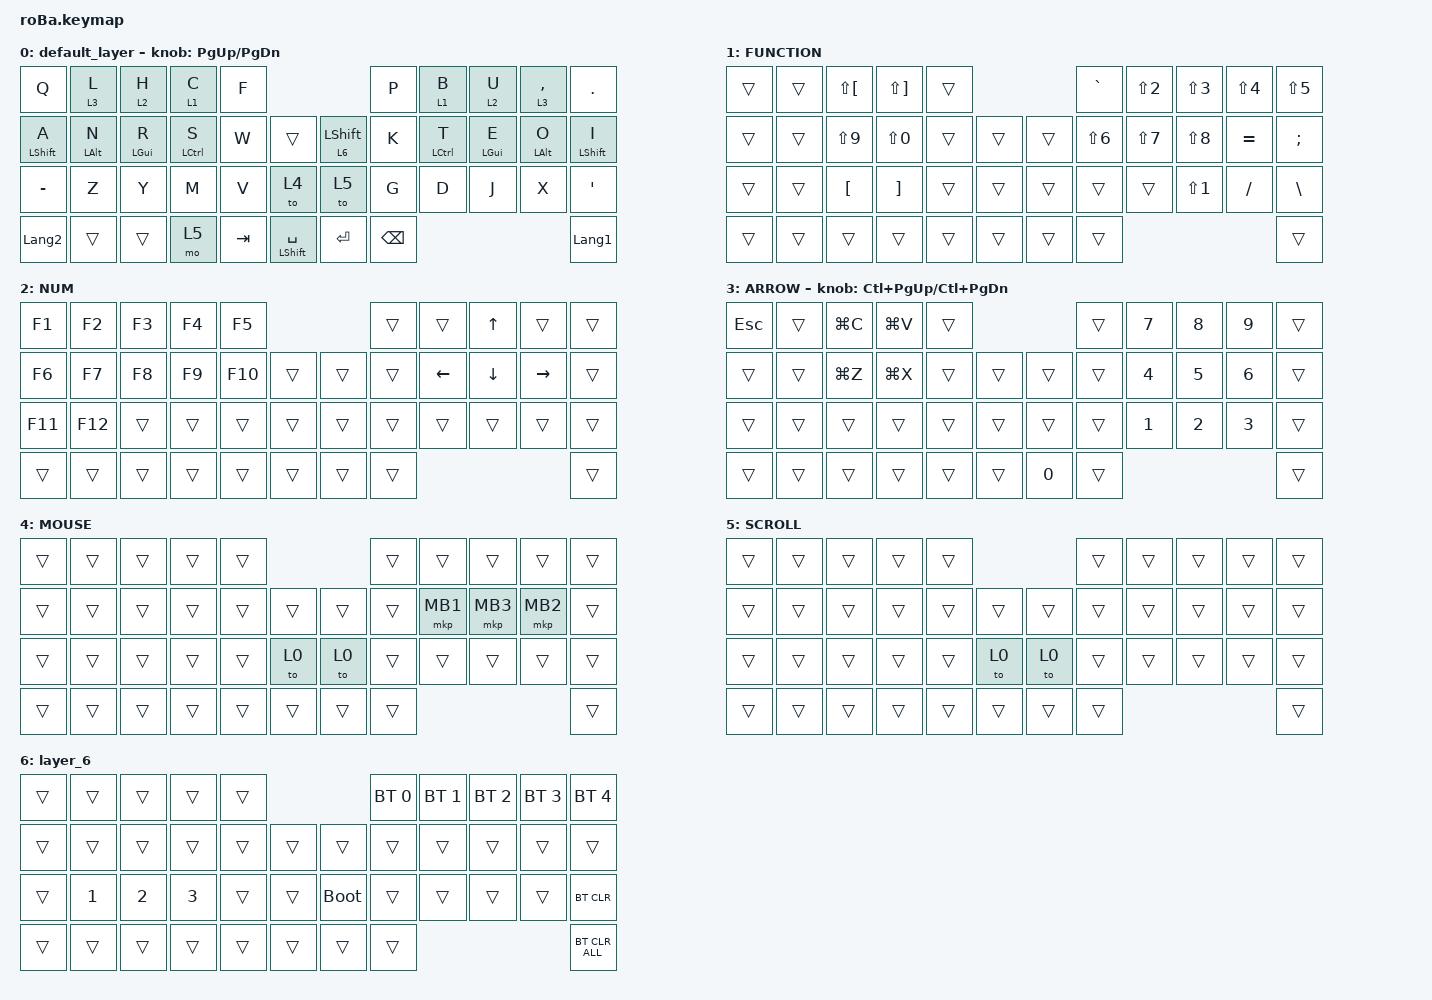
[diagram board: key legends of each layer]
#include <behaviors.dtsi>
#include <dt-bindings/zmk/bt.h>
#include <dt-bindings/zmk/keys.h>
#include <dt-bindings/zmk/pointing.h>

&mt {
    flavor = "tap-preferred";
    quick-tap-ms = <0>;
};

&trackball {
    automouse-layer = <4>;
    scroll-layers = <5>;

    // arrows {
    //     layers = <3>;
    //     bindings =
    //         <&kp RIGHT_ARROW>,
    //         <&kp LEFT_ARROW>,
    //         <&kp UP_ARROW>,
    //         <&kp DOWN_ARROW>;
    //     tick = <10>;
    //     wait-ms = <5>;
    //     tap-ms = <5>;
    // };
};

/ {
    combos { compatible = "zmk,combos"; };

    macros {
        to_layer_0: to_layer_0 {
            compatible = "zmk,behavior-macro-one-param";
            #binding-cells = <1>;
            bindings = <&to 0 &macro_param_1to1 &kp MACRO_PLACEHOLDER>;
            label = "TO_LAYER_0";
        };
    };

    behaviors {
        lt_to_layer_0: lt_to_layer_0 {
            compatible = "zmk,behavior-hold-tap";
            label = "LAYER_TAP_TO_0";
            bindings = <&mo>, <&to_layer_0>;

            #binding-cells = <2>;
            tapping-term-ms = <200>;
        };
    };

    keymap {
        compatible = "zmk,keymap";

        default_layer {
            bindings = <
&kp Q             &lt 3 L         &lt 2 H         &lt 1 C             &kp F                                                           &kp P          &lt 1 B             &lt 2 U         &lt 3 COMMA     &kp DOT
&mt LEFT_SHIFT A  &mt LEFT_ALT N  &mt LEFT_GUI R  &mt LEFT_CONTROL S  &kp W    &trans                    &lt_to_layer_0 6 LEFT_SHIFT  &kp K          &mt LEFT_CONTROL T  &mt LEFT_GUI E  &mt LEFT_ALT O  &mt LEFT_SHIFT I
&kp MINUS         &kp Z           &kp Y           &kp M               &kp V    &to 4                     &to 5                        &kp G          &kp D               &kp J           &kp X           &kp SQT
&kp LANGUAGE_2    &trans          &trans          &mo 5               &kp TAB  &mt LEFT_SHIFT SPACE      &kp ENTER                    &kp BACKSPACE                                                      &kp LANGUAGE_1
            >;

            sensor-bindings = <&inc_dec_kp PG_UP PAGE_DOWN>;
        };

        FUNCTION {
            bindings = <
&trans  &trans  &kp LS(LEFT_BRACKET)  &kp LS(RIGHT_BRACKET)  &trans                      &kp GRAVE         &kp LS(NUMBER_2)  &kp LS(NUMBER_3)  &kp LS(NUMBER_4)  &kp LS(N5)
&trans  &trans  &kp LS(NUMBER_9)      &kp LS(N0)             &trans  &trans      &trans  &kp LS(NUMBER_6)  &kp LS(N7)        &kp LS(N8)        &kp EQUAL         &kp SEMICOLON
&trans  &trans  &kp LEFT_BRACKET      &kp RIGHT_BRACKET      &trans  &trans      &trans  &trans            &trans            &kp LS(NUMBER_1)  &kp SLASH         &kp BACKSLASH
&trans  &trans  &trans                &trans                 &trans  &trans      &trans  &trans                                                                  &trans
            >;
        };

        NUM {
            bindings = <
&kp F1   &kp F2   &kp F3  &kp F4  &kp F5                       &trans  &trans    &kp UP    &trans     &trans
&kp F6   &kp F7   &kp F8  &kp F9  &kp F10  &trans      &trans  &trans  &kp LEFT  &kp DOWN  &kp RIGHT  &trans
&kp F11  &kp F12  &trans  &trans  &trans   &trans      &trans  &trans  &trans    &trans    &trans     &trans
&trans   &trans   &trans  &trans  &trans   &trans      &trans  &trans                                 &trans
            >;
        };

        ARROW {
            bindings = <
&kp ESCAPE  &trans  &kp LG(C)  &kp LG(V)  &trans                      &trans  &kp N7        &kp N8        &kp N9        &trans
&trans      &trans  &kp LG(Z)  &kp LG(X)  &trans  &trans      &trans  &trans  &kp NUMBER_4  &kp N5        &kp NUMBER_6  &trans
&trans      &trans  &trans     &trans     &trans  &trans      &trans  &trans  &kp NUMBER_1  &kp NUMBER_2  &kp NUMBER_3  &trans
&trans      &trans  &trans     &trans     &trans  &trans      &kp N0  &trans                                            &trans
            >;

            sensor-bindings = <&inc_dec_kp LC(PAGE_UP) LC(PAGE_DOWN)>;
        };

        MOUSE {
            bindings = <
&trans  &trans  &trans  &trans  &trans                      &trans  &trans    &trans    &trans    &trans
&trans  &trans  &trans  &trans  &trans  &trans      &trans  &trans  &mkp MB1  &mkp MB3  &mkp MB2  &trans
&trans  &trans  &trans  &trans  &trans  &to 0       &to 0   &trans  &trans    &trans    &trans    &trans
&trans  &trans  &trans  &trans  &trans  &trans      &trans  &trans                                &trans
            >;
        };

        SCROLL {
            bindings = <
&trans  &trans  &trans  &trans  &trans                      &trans  &trans  &trans  &trans  &trans
&trans  &trans  &trans  &trans  &trans  &trans      &trans  &trans  &trans  &trans  &trans  &trans
&trans  &trans  &trans  &trans  &trans  &to 0       &to 0   &trans  &trans  &trans  &trans  &trans
&trans  &trans  &trans  &trans  &trans  &trans      &trans  &trans                          &trans
            >;
        };

        layer_6 {
            bindings = <
&trans  &trans        &trans        &trans        &trans                           &bt BT_SEL 0  &bt BT_SEL 1  &bt BT_SEL 2  &bt BT_SEL 3  &bt BT_SEL 4
&trans  &trans        &trans        &trans        &trans  &trans      &trans       &trans        &trans        &trans        &trans        &trans
&trans  &kp NUMBER_1  &kp NUMBER_2  &kp NUMBER_3  &trans  &trans      &bootloader  &trans        &trans        &trans        &trans        &bt BT_CLR
&trans  &trans        &trans        &trans        &trans  &trans      &trans       &trans                                                  &bt BT_CLR_ALL
            >;
        };
    };
};
